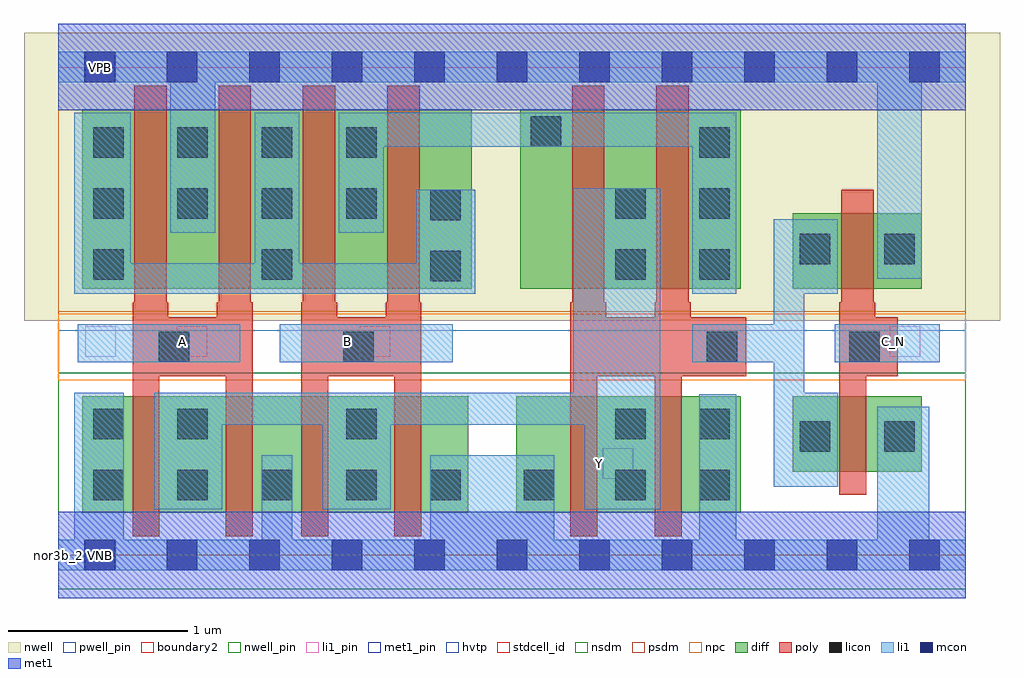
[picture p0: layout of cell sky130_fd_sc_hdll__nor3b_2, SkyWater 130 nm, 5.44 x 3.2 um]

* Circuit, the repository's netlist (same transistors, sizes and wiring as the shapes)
* Copyright 2020 The SkyWater PDK Authors
*
* Licensed under the Apache License, Version 2.0 (the "License");
* you may not use this file except in compliance with the License.
* You may obtain a copy of the License at
*
*     https://www.apache.org/licenses/LICENSE-2.0
*
* Unless required by applicable law or agreed to in writing, software
* distributed under the License is distributed on an "AS IS" BASIS,
* WITHOUT WARRANTIES OR CONDITIONS OF ANY KIND, either express or implied.
* See the License for the specific language governing permissions and
* limitations under the License.
*
* SPDX-License-Identifier: Apache-2.0

.SUBCKT sky130_fd_sc_hdll__nor3b_2 A B C_N VGND VNB VPB VPWR Y
*.PININFO A:I B:I C_N:I VGND:I VNB:I VPB:I VPWR:I Y:O
MMP0 VPWR A sndPA VPB sky130_fd_pr__pfet_01v8_hvt m=2 w=1.0U l=0.18U mult=1 sa=0.265
+ sb=0.265 sd=0.28 area=0.063 perim=1.14
MMP1 sndPA B sndPB VPB sky130_fd_pr__pfet_01v8_hvt m=2 w=1.0U l=0.18U mult=1 sa=0.265
+ sb=0.265 sd=0.28 area=0.063 perim=1.14
MMP2 sndPB C Y VPB sky130_fd_pr__pfet_01v8_hvt m=2 w=1.0U l=0.18U mult=1 sa=0.265
+ sb=0.265 sd=0.28 area=0.063 perim=1.14
MMIP2 C C_N VPWR VPB sky130_fd_pr__pfet_01v8_hvt m=1 w=0.42U l=0.18U mult=1 sa=0.265
+ sb=0.265 sd=0.28 area=0.063 perim=1.14
MMN0 Y A VGND VNB sky130_fd_pr__nfet_01v8 m=2 w=0.65U l=0.15U mult=1 sa=0.265 sb=0.265
+ sd=0.28 area=0.063 perim=1.14
MMN1 Y B VGND VNB sky130_fd_pr__nfet_01v8 m=2 w=0.65U l=0.15U mult=1 sa=0.265 sb=0.265
+ sd=0.28 area=0.063 perim=1.14
MMN2 Y C VGND VNB sky130_fd_pr__nfet_01v8 m=2 w=0.65U l=0.15U mult=1 sa=0.265 sb=0.265
+ sd=0.28 area=0.063 perim=1.14
MMIN2 C C_N VGND VNB sky130_fd_pr__nfet_01v8 m=1 w=0.42U l=0.15U mult=1 sa=0.265
+ sb=0.265 sd=0.28 area=0.063 perim=1.14
.ENDS sky130_fd_sc_hdll__nor3b_2

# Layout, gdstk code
import gdstk
lib = gdstk.Library(unit=1e-6, precision=1e-09)
def R(c, l, rs):  # rectangles x0, y0, x1, y1
    for r in rs: c.add(gdstk.rectangle(r[:2], r[2:], *l))
def A(c, l, x, y, w, h, nx, ny, dx, dy):  # array of equal rectangles
    R(c, l, [(x+i*dx, y+j*dy, x+i*dx+w, y+j*dy+h) for i in range(nx) for j in range(ny)])
def P(c, l, *ps):  # polygons
    for p in ps: c.add(gdstk.Polygon(p, *l))
nwell_pin = (64, 16)
nwell = (64, 20)
diff = (65, 20)
poly = (66, 20)
licon = (66, 44)
li1_pin = (67, 16)
li1 = (67, 20)
mcon = (67, 44)
met1_pin = (68, 16)
met1 = (68, 20)
hvtp = (78, 44)
stdcell_id = (81, 4)
nsdm = (93, 44)
psdm = (94, 20)
npc = (95, 20)
pwell_pin = (122, 16)
boundary2 = (236, 0)

sky130_fd_sc_hdll__nor3b = lib.new_cell('sky130_fd_sc_hdll__nor3b_2')
R(sky130_fd_sc_hdll__nor3b, nwell_pin, [(0.15,2.635,0.32,2.805)])
R(sky130_fd_sc_hdll__nor3b, nwell, [(-0.19,1.305,5.25,2.91)])
R(sky130_fd_sc_hdll__nor3b, diff, [(0.135,0.235,2.285,0.885), (2.555,0.235,3.805,0.885), (4.095,0.465,4.815,0.885), (0.135,1.485,2.305,2.485), (2.575,1.485,3.805,2.485), (4.095,1.485,4.815,1.905)])
P(sky130_fd_sc_hdll__nor3b, poly, [(1.085,1.41),(1.075,1.41),(1.075,2.615),(0.895,2.615),(0.895,1.41),(0.885,1.41),(0.885,1.325),(0.615,1.325),(0.615,1.41),(0.605,1.41),(0.605,2.615),(0.425,2.615),(0.425,1.41),(0.415,1.41),(0.415,0.105),(0.565,0.105),(0.565,0.995),(0.935,0.995),(0.935,0.105),(1.085,0.105)],
  [(2.025,1.41),(2.015,1.41),(2.015,2.615),(1.835,2.615),(1.835,1.41),(1.825,1.41),(1.825,1.325),(1.555,1.325),(1.555,1.41),(1.545,1.41),(1.545,2.615),(1.365,2.615),(1.365,1.41),(1.355,1.41),(1.355,0.105),(1.505,0.105),(1.505,0.995),(1.875,0.995),(1.875,0.105),(2.025,0.105)],
  [(3.835,1.325),(3.525,1.325),(3.525,1.41),(3.515,1.41),(3.515,2.615),(3.335,2.615),(3.335,1.41),(3.325,1.41),(3.325,1.325),(3.055,1.325),(3.055,1.41),(3.045,1.41),(3.045,2.615),(2.865,2.615),(2.865,1.41),(2.855,1.41),(2.855,0.105),(3.005,0.105),(3.005,0.995),(3.325,0.995),(3.325,0.105),(3.475,0.105),(3.475,0.995),(3.835,0.995)],
  [(4.68,1.325),(4.555,1.325),(4.555,1.41),(4.545,1.41),(4.545,2.035),(4.365,2.035),(4.365,1.41),(4.355,1.41),(4.355,0.335),(4.505,0.335),(4.505,0.995),(4.68,0.995)])
A(sky130_fd_sc_hdll__nor3b, licon, 0.195, 0.305, 0.17, 0.17, 5, 1, 0.47, 0)
A(sky130_fd_sc_hdll__nor3b, licon, 3.575, 1.535, 0.17, 0.17, 1, 3, 0, 0.34)
A(sky130_fd_sc_hdll__nor3b, licon, 0.195, 1.875, 0.17, 0.17, 4, 2, 0.47, 0.34)
R(sky130_fd_sc_hdll__nor3b, licon, [(2.595,0.305,2.765,0.475), (3.105,0.305,3.275,0.475), (3.575,0.305,3.745,0.475), (4.135,0.575,4.305,0.745), (4.605,0.575,4.775,0.745), (0.195,0.645,0.365,0.815), (0.665,0.645,0.835,0.815), (1.605,0.645,1.775,0.815), (3.105,0.645,3.275,0.815), (3.575,0.645,3.745,0.815), (0.56,1.075,0.73,1.245), (1.59,1.075,1.76,1.245), (3.615,1.075,3.785,1.245), (4.41,1.075,4.58,1.245), (2.075,1.525,2.245,1.695), (0.195,1.535,0.365,1.705), (1.135,1.535,1.305,1.705), (3.105,1.535,3.275,1.705), (4.135,1.62,4.305,1.79), (4.605,1.62,4.775,1.79), (2.075,1.865,2.245,2.035), (3.105,1.875,3.275,2.045), (2.635,2.275,2.805,2.445)])
R(sky130_fd_sc_hdll__nor3b, li1_pin, [(3.035,0.425,3.205,0.595), (0.15,1.105,0.32,1.275), (0.66,1.105,0.83,1.275), (1.68,1.105,1.85,1.275), (4.635,1.105,4.805,1.275)])
R(sky130_fd_sc_hdll__nor3b, li1, [(0.11,1.075,1.015,1.285), (1.235,1.075,2.2,1.285), (4.33,1.075,4.915,1.285)])
P(sky130_fd_sc_hdll__nor3b, li1, [(3.355,2.045),(2.87,2.045),(2.87,0.905),(0.535,0.905),(0.535,0.255),(0.915,0.255),(0.915,0.725),(1.475,0.725),(1.475,0.255),(1.855,0.255),(1.855,0.725),(2.935,0.725),(2.935,0.255),(3.355,0.255)],
  [(5.06,0.085),(4.855,0.085),(4.855,0.825),(4.565,0.825),(4.565,0.085),(3.78,0.085),(3.78,0.895),(3.575,0.895),(3.575,0.085),(2.765,0.085),(2.765,0.555),(2.075,0.555),(2.075,0.085),(1.305,0.085),(1.305,0.555),(1.135,0.555),(1.135,0.085),(0.365,0.085),(0.365,0.905),(0.09,0.905),(0.09,0.085),(0,0.085),(0,-0.085),(5.06,-0.085)],
  [(5.06,2.805),(0,2.805),(0,2.635),(0.625,2.635),(0.625,1.795),(0.875,1.795),(0.875,2.635),(4.565,2.635),(4.565,1.54),(4.815,1.54),(4.815,2.635),(5.06,2.635)],
  [(2.325,2.035),(1.995,2.035),(1.995,1.625),(1.345,1.625),(1.345,2.465),(1.095,2.465),(1.095,1.625),(0.405,1.625),(0.405,2.465),(0.09,2.465),(0.09,1.455),(2.325,1.455)],
  [(3.78,2.465),(1.565,2.465),(1.565,1.795),(1.815,1.795),(1.815,2.275),(3.535,2.275),(3.535,1.455),(3.78,1.455)],
  [(4.345,0.905),(4.16,0.905),(4.16,1.455),(4.345,1.455),(4.345,1.87),(3.99,1.87),(3.99,1.285),(3.535,1.285),(3.535,1.075),(3.99,1.075),(3.99,0.38),(4.345,0.38)])
A(sky130_fd_sc_hdll__nor3b, mcon, 0.145, -0.085, 0.17, 0.17, 11, 2, 0.46, 2.72)
R(sky130_fd_sc_hdll__nor3b, met1_pin, [(0.15,-0.085,0.32,0.085), (0.15,2.635,0.32,2.805)])
R(sky130_fd_sc_hdll__nor3b, met1, [(0,-0.24,5.06,0.24), (0,2.48,5.06,2.96)])
R(sky130_fd_sc_hdll__nor3b, hvtp, [(0,1.25,5.06,2.72)])
R(sky130_fd_sc_hdll__nor3b, stdcell_id, [(0,0,5.06,2.72)])
R(sky130_fd_sc_hdll__nor3b, nsdm, [(0,-0.19,5.06,1.015)])
R(sky130_fd_sc_hdll__nor3b, psdm, [(0,1.355,5.06,2.91)])
R(sky130_fd_sc_hdll__nor3b, npc, [(0,0.975,5.06,1.345)])
R(sky130_fd_sc_hdll__nor3b, pwell_pin, [(0.15,-0.085,0.32,0.085)])
R(sky130_fd_sc_hdll__nor3b, boundary2, [(0,0,5.06,2.72)])
sky130_fd_sc_hdll__nor3b.add(gdstk.Label('C_N', (4.655,1.19), layer=67, texttype=5))
sky130_fd_sc_hdll__nor3b.add(gdstk.Label('Y', (3.015,0.51), layer=67, texttype=5))
sky130_fd_sc_hdll__nor3b.add(gdstk.Label('A', (0.695,1.19), layer=67, texttype=5))
sky130_fd_sc_hdll__nor3b.add(gdstk.Label('B', (1.615,1.19), layer=67, texttype=5))
sky130_fd_sc_hdll__nor3b.add(gdstk.Label('VPB', (0.235,2.72), layer=64, texttype=5))
sky130_fd_sc_hdll__nor3b.add(gdstk.Label('VNB', (0.235,0), layer=64, texttype=59))
sky130_fd_sc_hdll__nor3b.add(gdstk.Label('VGND', (0.235,0), layer=68, texttype=5))
sky130_fd_sc_hdll__nor3b.add(gdstk.Label('VPWR', (0.235,2.72), layer=68, texttype=5))
sky130_fd_sc_hdll__nor3b.add(gdstk.Label('nor3b_2', (0,0), layer=83, texttype=44))

lib.write_gds('sky130_fd_sc_hdll__nor3b_2.gds')
